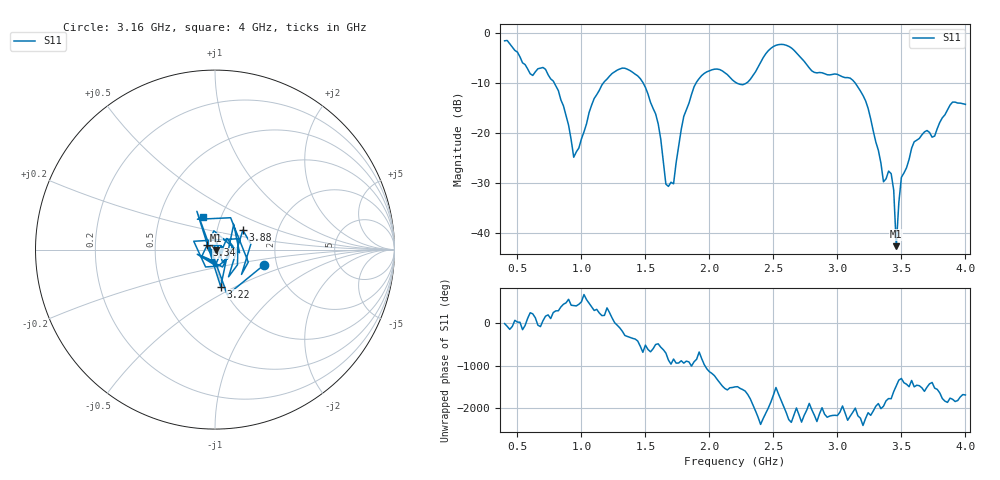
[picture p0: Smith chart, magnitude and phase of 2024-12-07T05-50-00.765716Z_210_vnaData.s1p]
!Created with skrf (http://scikit-rf.org).
# Hz S RI R 50.0
!freq ReS11 ImS11
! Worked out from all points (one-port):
!   181 points, 400 MHz to 4 GHz, reference 50 ohm
!   lowest |S11| = -42.6 dB at 3.46 GHz (marker M1), VSWR 1.01, Z = 50.6 - j0.437 ohm
!   |S11| at or under -10 dB: 786.9 MHz to 1.174 GHz (386.6 MHz wide, 39.4 % of centre); 1.481 GHz to 1.897 GHz (416.1 MHz wide, 24.6 % of centre); 3.137 GHz to end of sweep (the widest 3 of 4)
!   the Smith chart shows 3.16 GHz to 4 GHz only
!   S11 on the Smith chart (normalised r, x): 3.16 GHz: 1.71, -0.32; 3.22 GHz: 0.98, -0.42; 3.34 GHz: 0.92, +0.05; 3.88 GHz: 1.33, +0.30; 4 GHz: 0.82, +0.31
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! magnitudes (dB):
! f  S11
! 400 MHz  -1.7
! 600 MHz  -8.2
! 720 MHz  -7.3
! 860 MHz  -14.6
! 940 MHz  -24.9
! 1.1 GHz  -13.1
! 1.3 GHz  -7.3
! 1.5 GHz  -10.9
! 1.6 GHz  -18.2
! 1.66 GHz  -30.2
! 1.72 GHz  -30.2
! 1.76 GHz  -22.7
! 1.94 GHz  -8.6
! 2.2 GHz  -9.9
! 2.5 GHz  -2.8
! 2.66 GHz  -3.5
! 3.1 GHz  -9.1
! 3.16 GHz  -10.9
! 3.22 GHz  -13.6
! 3.34 GHz  -26.0
! 3.36 GHz  -29.8
! 3.42 GHz  -28.1
! 3.44 GHz  -31.4
! 3.46 GHz  -42.6
! 3.5 GHz  -28.9
! 3.56 GHz  -25.3
! 3.88 GHz  -14.5
! 4 GHz  -14.3
